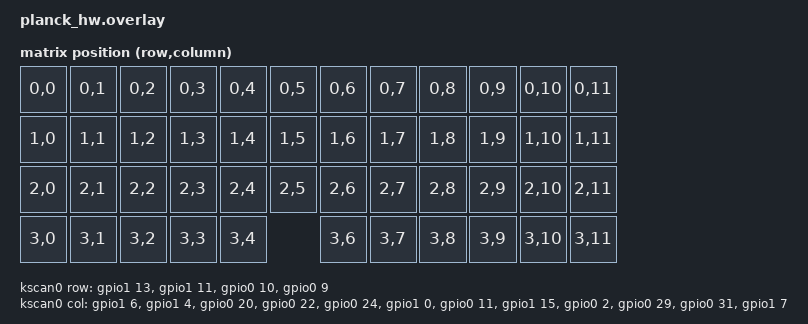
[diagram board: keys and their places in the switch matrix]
/*
 * Copyright (c) 2024 The ZMK Contributors
 * SPDX-License-Identifier: MIT
 *
 * Handwired Planck MIT (4x12 matrix, 47 keys - 2U spacebar)
 * nice!nano v2
 */

#include <dt-bindings/zmk/matrix_transform.h>
#include "planck_hw-layouts.dtsi"

/ {
    chosen {
        zmk,kscan = &kscan0;
        zmk,matrix-transform = &default_transform;
        zmk,physical-layout = &planck_hw_physical_layout;
    };

    default_transform: keymap_transform_0 {
        compatible = "zmk,matrix-transform";
        columns = <12>;
        rows = <4>;
        // MIT layout: 47 keys (bottom row has 2U spacebar on col 6, skipping column 5)
        map = <
            RC(0,0) RC(0,1) RC(0,2) RC(0,3) RC(0,4) RC(0,5) RC(0,6) RC(0,7) RC(0,8) RC(0,9) RC(0,10) RC(0,11)
            RC(1,0) RC(1,1) RC(1,2) RC(1,3) RC(1,4) RC(1,5) RC(1,6) RC(1,7) RC(1,8) RC(1,9) RC(1,10) RC(1,11)
            RC(2,0) RC(2,1) RC(2,2) RC(2,3) RC(2,4) RC(2,5) RC(2,6) RC(2,7) RC(2,8) RC(2,9) RC(2,10) RC(2,11)
            RC(3,0) RC(3,1) RC(3,2) RC(3,3) RC(3,4)         RC(3,6) RC(3,7) RC(3,8) RC(3,9) RC(3,10) RC(3,11)
        >;
    };

    kscan0: kscan_0 {
        compatible = "zmk,kscan-gpio-matrix";
        wakeup-source;
        diode-direction = "col2row";

        col-gpios
            = <&gpio1 6  GPIO_ACTIVE_HIGH>   // Col 0: P1.06
            , <&gpio1 4  GPIO_ACTIVE_HIGH>   // Col 1: P1.04
            , <&gpio0 20 GPIO_ACTIVE_HIGH>   // Col 2: P0.20
            , <&gpio0 22 GPIO_ACTIVE_HIGH>   // Col 3: P0.22
            , <&gpio0 24 GPIO_ACTIVE_HIGH>   // Col 4: P0.24
            , <&gpio1 0  GPIO_ACTIVE_HIGH>   // Col 5: P1.00
            , <&gpio0 11 GPIO_ACTIVE_HIGH>   // Col 6: P0.11
            , <&gpio1 15 GPIO_ACTIVE_HIGH>   // Col 7: P1.15
            , <&gpio0 2  GPIO_ACTIVE_HIGH>   // Col 8: P0.02
            , <&gpio0 29 GPIO_ACTIVE_HIGH>   // Col 9: P0.29
            , <&gpio0 31 GPIO_ACTIVE_HIGH>   // Col 10: P0.31
            , <&gpio1 7  GPIO_ACTIVE_HIGH>   // Col 11: P1.07
            ;

        row-gpios
            = <&gpio1 13 (GPIO_ACTIVE_HIGH | GPIO_PULL_DOWN)>  // Row 0: P1.13
            , <&gpio1 11 (GPIO_ACTIVE_HIGH | GPIO_PULL_DOWN)>  // Row 1: P1.11
            , <&gpio0 10 (GPIO_ACTIVE_HIGH | GPIO_PULL_DOWN)>  // Row 2: P0.10
            , <&gpio0 9  (GPIO_ACTIVE_HIGH | GPIO_PULL_DOWN)>  // Row 3: P0.09
            ;
    };
};
